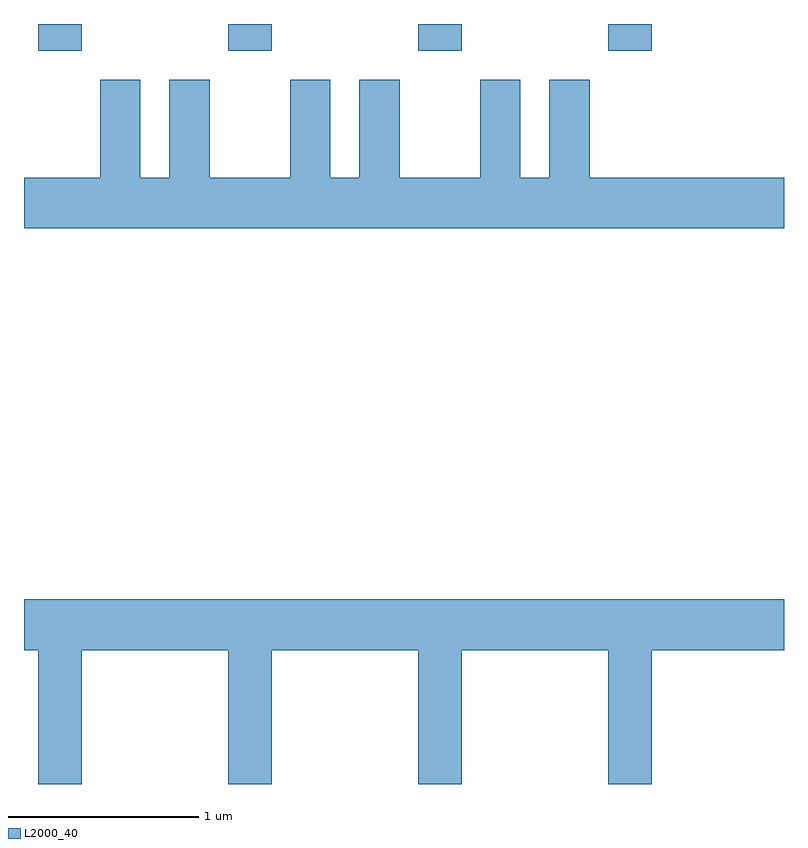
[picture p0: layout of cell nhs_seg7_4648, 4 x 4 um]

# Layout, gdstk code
import gdstk
lib = gdstk.Library(unit=1e-6, precision=1e-09)
def R(c, l, rs):  # rectangles x0, y0, x1, y1
    for r in rs: c.add(gdstk.rectangle(r[:2], r[2:], *l))
def A(c, l, x, y, w, h, nx, ny, dx, dy):  # array of equal rectangles
    R(c, l, [(x+i*dx, y+j*dy, x+i*dx+w, y+j*dy+h) for i in range(nx) for j in range(ny)])
def P(c, l, *ps):  # polygons
    for p in ps: c.add(gdstk.Polygon(p, *l))
L2000_40 = (2000, 40)

nhs_seg7_4648 = lib.new_cell('nhs_seg7_4648')
A(nhs_seg7_4648, L2000_40, 327.686, 1744.111, 0.228, 0.141, 4, 1, 1, 0)
P(nhs_seg7_4648, L2000_40, [(331.611,1743.444),(330.589,1743.444),(330.589,1743.959),(330.376,1743.959),(330.376,1743.444),(330.224,1743.444),(330.224,1743.959),(330.011,1743.959),(330.011,1743.444),(329.589,1743.444),(329.589,1743.959),(329.376,1743.959),(329.376,1743.444),(329.224,1743.444),(329.224,1743.959),(329.011,1743.959),(329.011,1743.444),(328.589,1743.444),(328.589,1743.959),(328.376,1743.959),(328.376,1743.444),(328.224,1743.444),(328.224,1743.959),(328.011,1743.959),(328.011,1743.444),(327.611,1743.444),(327.611,1743.176),(331.611,1743.176)],
  [(327.914,1740.956),(328.686,1740.956),(328.686,1740.252),(328.914,1740.252),(328.914,1740.956),(329.686,1740.956),(329.686,1740.252),(329.914,1740.252),(329.914,1740.956),(330.686,1740.956),(330.686,1740.252),(330.914,1740.252),(330.914,1740.956),(331.611,1740.956),(331.611,1741.224),(327.611,1741.224),(327.611,1740.956),(327.686,1740.956),(327.686,1740.252),(327.914,1740.252)])

lib.write_gds('nhs_seg7_4648.gds')
